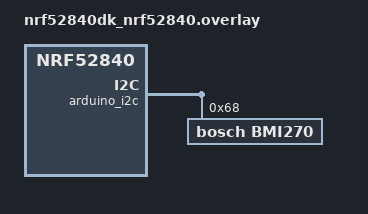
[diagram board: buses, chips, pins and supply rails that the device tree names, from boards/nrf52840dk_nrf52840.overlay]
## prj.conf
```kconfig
#
# Copyright (c) 2016 Intel Corporation
#
# SPDX-License-Identifier: Apache-2.0
#

# STEP 2 - Enable the I2C driver
CONFIG_I2C=y
# STEP 4.2 - Enable floating point format specifiers
CONFIG_CBPRINTF_FP_SUPPORT=y

CONFIG_SENSOR=y
# CONFIG_STDOUT_CONSOLE=y
```

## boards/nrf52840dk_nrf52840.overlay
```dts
// To get started, press Ctrl+Space to bring up the completion menu and view the available nodes.
// For more help, browse the DeviceTree documentation at https://docs.zephyrproject.org/latest/guides/dts/index.html

&arduino_i2c {
	status = "okay";

	bmi270@68 {
		compatible = "bosch,bmi270";
		reg = <0x68>;
	};
};
```

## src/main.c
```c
/*
 * Copyright (c) 2021 Bosch Sensortec GmbH
 *
 * SPDX-License-Identifier: Apache-2.0
 */

// SDA - P0-16
// SCL - P0-17
#include <zephyr/device.h>
#include <zephyr/drivers/sensor.h>
#include <zephyr/kernel.h>
#include <math.h>

int main(void) {
    const struct device *const dev = DEVICE_DT_GET_ONE(bosch_bmi270);
    struct sensor_value acc[3], gyr[3];
    struct sensor_value full_scale, sampling_freq, oversampling;

    if (!device_is_ready(dev)) {
        printk("Device %s is not ready\n", dev->name);
        return 0;
    }

    printk("Device %p name is %s\n", dev, dev->name);

    /* Setting scale in G, due to loss of precision if the SI unit m/s^2
	 * is used
	 */
    full_scale.val1 = 2; /* G */
    full_scale.val2 = 0;
    sampling_freq.val1 = 100; /* Hz. Performance mode */
    sampling_freq.val2 = 0;
    oversampling.val1 = 1; /* Normal mode */
    oversampling.val2 = 0;

    sensor_attr_set(dev, SENSOR_CHAN_ACCEL_XYZ, SENSOR_ATTR_FULL_SCALE, &full_scale);
    sensor_attr_set(dev, SENSOR_CHAN_ACCEL_XYZ, SENSOR_ATTR_OVERSAMPLING, &oversampling);
    /* Set sampling frequency last as this also sets the appropriate
	 * power mode. If already sampling, change to 0.0Hz before changing
	 * other attributes
	 */
    sensor_attr_set(dev, SENSOR_CHAN_ACCEL_XYZ, SENSOR_ATTR_SAMPLING_FREQUENCY, &sampling_freq);

    /* Setting scale in degrees/s to match the sensor scale */
    full_scale.val1 = 500; /* dps */
    full_scale.val2 = 0;
    sampling_freq.val1 = 100; /* Hz. Performance mode */
    sampling_freq.val2 = 0;
    oversampling.val1 = 1; /* Normal mode */
    oversampling.val2 = 0;

    sensor_attr_set(dev, SENSOR_CHAN_GYRO_XYZ, SENSOR_ATTR_FULL_SCALE, &full_scale);
    sensor_attr_set(dev, SENSOR_CHAN_GYRO_XYZ, SENSOR_ATTR_OVERSAMPLING, &oversampling);
    /* Set sampling frequency last as this also sets the appropriate
	 * power mode. If already sampling, change sampling frequency to
	 * 0.0Hz before changing other attributes
	 */
    sensor_attr_set(dev, SENSOR_CHAN_GYRO_XYZ, SENSOR_ATTR_SAMPLING_FREQUENCY, &sampling_freq);

    uint32_t iteration = 0;  // Declare a counter

    while (1) {
        /* 10ms period, 100Hz Sampling frequency */
        k_sleep(K_MSEC(10));

        sensor_sample_fetch(dev);

        if (iteration++ % 200 == 0) {
            sensor_channel_get(dev, SENSOR_CHAN_ACCEL_XYZ, acc);  // m/s^2
            sensor_channel_get(dev, SENSOR_CHAN_GYRO_XYZ, gyr);   // rad/s

            float acc_x = acc[0].val1 + acc[0].val2 / 1000000.0;
            float acc_y = acc[1].val1 + acc[1].val2 / 1000000.0;
            float acc_z = acc[2].val1 + acc[2].val2 / 1000000.0;

            float gyr_x = gyr[0].val1 + gyr[0].val2 / 1000000.0;
            float gyr_y = gyr[1].val1 + gyr[1].val2 / 1000000.0;
            float gyr_z = gyr[2].val1 + gyr[2].val2 / 1000000.0;

            float gyr_x_dps = gyr_x * (180.0 / 3.14159265359);
            float gyr_y_dps = gyr_y * (180.0 / 3.14159265359);
            float gyr_z_dps = gyr_z * (180.0 / 3.14159265359);

            // Calculate pitch and roll 
            float pitch = atan2(acc_y, sqrt(acc_x * acc_x + acc_z * acc_z)) * (180.0 / 3.14159265359);
            float roll = atan2(-acc_x, sqrt(acc_y * acc_y + acc_z * acc_z)) * (180.0 / 3.14159265359);

            printk(
                "Acceleration (m/s^2): AX: %.6f; AY: %.6f; AZ: %.6f; \n"
                "Rotational velocity (deg/s): GX: %.6f; GY: %.6f; GZ: %.6f\n",
                acc_x, acc_y, acc_z, gyr_x_dps, gyr_y_dps, gyr_z_dps);

            // Print the calculated angles
            printk("Pitch (Angle X): %.2f degrees\n", pitch);
            printk("Roll (Angle Y): %.2f degrees\n", roll);

            printf("\n");
        }
        // Increment and reset the counter to avoid overflow
        iteration = (iteration + 1) % 200;

        k_sleep(K_MSEC(10));  // 10 ms sleep
    }
    return 0;
}
```
